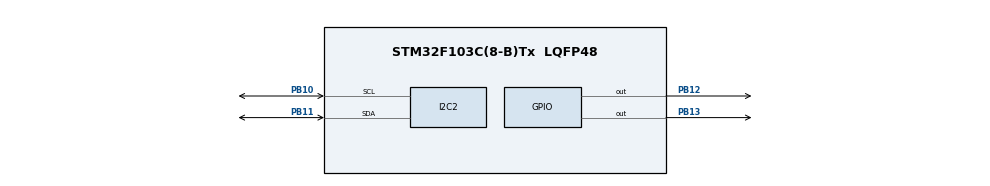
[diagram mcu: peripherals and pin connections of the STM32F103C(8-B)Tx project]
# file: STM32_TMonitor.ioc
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Mcu.Family=STM32F1
Mcu.Name=STM32F103C(8-B)Tx
Mcu.Package=LQFP48
NVIC.PriorityGroup=NVIC_PRIORITYGROUP_4
PA13.Mode=Serial_Wire
PA13.Signal=SYS_JTMS-SWDIO
PA14.Mode=Serial_Wire
PA14.Signal=SYS_JTCK-SWCLK
PB10.Mode=I2C
PB10.Signal=I2C2_SCL
PB11.Mode=I2C
PB11.Signal=I2C2_SDA
PB12.GPIO_ModeDefaultOutputPP=GPIO_MODE_OUTPUT_PP
PB12.GPIO_Speed=GPIO_SPEED_FREQ_HIGH
PB12.PinState=GPIO_PIN_RESET
PB12.Signal=GPIO_Output
PB13.GPIO_Speed=GPIO_SPEED_FREQ_HIGH
PB13.Signal=GPIO_Output
ProjectManager.HeapSize=0x200
ProjectManager.StackSize=0x400
ProjectManager.TargetToolchain=SW4STM32
RCC.APB1Freq_Value=8000000
RCC.APB2Freq_Value=8000000
TIM1.ClockDivision=TIM_CLOCKDIVISION_DIV1
TIM1.Period=65535
TIM1.Prescaler=7
TIM1.RepetitionCounter=0
TIM1.TIM_MasterOutputTrigger=TIM_TRGO_ENABLE
VP_TIM1_VS_ClockSourceINT.Mode=Internal
board=STM32_TMonitor

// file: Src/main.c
/**
 ******************************************************************************
 * File Name          : main.c
 * Description        : Main program body
 ******************************************************************************
 ** This notice applies to any and all portions of this file
 * that are not between comment pairs USER CODE BEGIN and
 * USER CODE END. Other portions of this file, whether
 * inserted by the user or by software development tools
 * are owned by their respective copyright owners.
 *
 * COPYRIGHT(c) 2017 STMicroelectronics
 *
 * Redistribution and use in source and binary forms, with or without modification,
 * are permitted provided that the following conditions are met:
 *   1. Redistributions of source code must retain the above copyright notice,
 *      this list of conditions and the following disclaimer.
 *   2. Redistributions in binary form must reproduce the above copyright notice,
 *      this list of conditions and the following disclaimer in the documentation
 *      and/or other materials provided with the distribution.
 *   3. Neither the name of STMicroelectronics nor the names of its contributors
 *      may be used to endorse or promote products derived from this software
 *      without specific prior written permission.
 *
 * THIS SOFTWARE IS PROVIDED BY THE COPYRIGHT HOLDERS AND CONTRIBUTORS "AS IS"
 * AND ANY EXPRESS OR IMPLIED WARRANTIES, INCLUDING, BUT NOT LIMITED TO, THE
 * IMPLIED WARRANTIES OF MERCHANTABILITY AND FITNESS FOR A PARTICULAR PURPOSE ARE
 * DISCLAIMED. IN NO EVENT SHALL THE COPYRIGHT HOLDER OR CONTRIBUTORS BE LIABLE
 * FOR ANY DIRECT, INDIRECT, INCIDENTAL, SPECIAL, EXEMPLARY, OR CONSEQUENTIAL
 * DAMAGES (INCLUDING, BUT NOT LIMITED TO, PROCUREMENT OF SUBSTITUTE GOODS OR
 * SERVICES; LOSS OF USE, DATA, OR PROFITS; OR BUSINESS INTERRUPTION) HOWEVER
 * CAUSED AND ON ANY THEORY OF LIABILITY, WHETHER IN CONTRACT, STRICT LIABILITY,
 * OR TORT (INCLUDING NEGLIGENCE OR OTHERWISE) ARISING IN ANY WAY OUT OF THE USE
 * OF THIS SOFTWARE, EVEN IF ADVISED OF THE POSSIBILITY OF SUCH DAMAGE.
 *
 ******************************************************************************
 */

#include "main.h"
#include "stm32f1xx_hal.h"

/* USER CODE BEGIN Includes */
#include "SSD1306/ssd1306.h"
#include "Beeper/gpio_beeper.h"
#include "TSensor/ds18b20.h"
/* USER CODE END Includes */

I2C_HandleTypeDef hi2c2;

TIM_HandleTypeDef htim1;

/* USER CODE BEGIN PV */
/* Private variables ---------------------------------------------------------*/

/* USER CODE END PV */

void SystemClock_Config(void);
static void MX_GPIO_Init(void);
static void MX_I2C2_Init(void);
static void MX_TIM1_Init(void);

/* USER CODE BEGIN PFP */
/* Private function prototypes -----------------------------------------------*/

/* USER CODE END PFP */

int main(void) {

	/* MCU Configuration----------------------------------------------------------*/

	/* Reset of all peripherals, Initializes the Flash interface and the Systick. */
	HAL_Init();

	/* Configure the system clock */
	SystemClock_Config();

	/* Initialize all configured peripherals */
	MX_GPIO_Init();
	MX_I2C2_Init();
	MX_TIM1_Init();

	/* USER CODE BEGIN 2 */
	htim1.Instance->CR1 |= TIM_CR1_CEN;
	gpio_beeper_Init();
	ds18b20_init(GPIOB, GPIO_PIN_13, htim1.Instance);
	ssd1306_Init();
	gpio_beeper_Init();
	gpio_beeper_Init();
	/* USER CODE END 2 */

	/* Infinite loop */
	/* USER CODE BEGIN WHILE */
	HAL_Delay(1000);
	simple_float f;
	char temp[3];
	char temp_frac[5];
	char buf[16];
	//bool TWARN = false;
	ssd1306_Fill(Black);
	ssd1306_UpdateScreen();
	while (1) {
		f = ds18b20_get_temperature_simple();
		if (f.is_valid) {
			//HAL_Delay(1000);
			if(f.integer > 60){
				gpio_beeper_beep();
			}
			else{
				gpio_beeper_stop();
			}
			ssd1306_SetCursor(23, 23);
			itoa(f.integer, temp, 10);
			itoa(f.fractional, temp_frac, 10);
			snprintf(buf, sizeof buf, "%s.%s", temp, temp_frac);
			ssd1306_WriteString(buf, Font_11x18, White);
			ssd1306_UpdateScreen();
			//HAL_Delay(1000);
			//ssd1306_Fill(Black);
			//ssd1306_UpdateScreen();
		} else {
			ssd1306_Fill(Black);
			ssd1306_UpdateScreen();
			//HAL_Delay(1000);
			ssd1306_SetCursor(23, 23);
			ssd1306_WriteString("Invalid Data", Font_11x18, White);
			ssd1306_UpdateScreen();
			HAL_Delay(1000);
			ssd1306_Fill(Black);
			ssd1306_UpdateScreen();
		}
		HAL_Delay(1000);
	}
	while (1) {
		/* USER CODE END WHILE */

	}

}

/** System Clock Configuration
 */
void SystemClock_Config(void) {

	RCC_OscInitTypeDef RCC_OscInitStruct;
	RCC_ClkInitTypeDef RCC_ClkInitStruct;

	/**Initializes the CPU, AHB and APB busses clocks
	 */
	RCC_OscInitStruct.OscillatorType = RCC_OSCILLATORTYPE_HSI;
	RCC_OscInitStruct.HSIState = RCC_HSI_ON;
	RCC_OscInitStruct.HSICalibrationValue = 16;
	RCC_OscInitStruct.PLL.PLLState = RCC_PLL_NONE;
	if (HAL_RCC_OscConfig(&RCC_OscInitStruct) != HAL_OK) {
		_Error_Handler(__FILE__, __LINE__);
	}

	/**Initializes the CPU, AHB and APB busses clocks
	 */
	RCC_ClkInitStruct.ClockType = RCC_CLOCKTYPE_HCLK | RCC_CLOCKTYPE_SYSCLK
			| RCC_CLOCKTYPE_PCLK1 | RCC_CLOCKTYPE_PCLK2;
	RCC_ClkInitStruct.SYSCLKSource = RCC_SYSCLKSOURCE_HSI;
	RCC_ClkInitStruct.AHBCLKDivider = RCC_SYSCLK_DIV1;
	RCC_ClkInitStruct.APB1CLKDivider = RCC_HCLK_DIV1;
	RCC_ClkInitStruct.APB2CLKDivider = RCC_HCLK_DIV1;

	if (HAL_RCC_ClockConfig(&RCC_ClkInitStruct, FLASH_LATENCY_0) != HAL_OK) {
		_Error_Handler(__FILE__, __LINE__);
	}

	/**Configure the Systick interrupt time
	 */
	HAL_SYSTICK_Config(HAL_RCC_GetHCLKFreq() / 1000);

	/**Configure the Systick
	 */
	HAL_SYSTICK_CLKSourceConfig(SYSTICK_CLKSOURCE_HCLK);

	/* SysTick_IRQn interrupt configuration */
	HAL_NVIC_SetPriority(SysTick_IRQn, 0, 0);
}

/* I2C2 init function */
static void MX_I2C2_Init(void) {

	hi2c2.Instance = I2C2;
	hi2c2.Init.ClockSpeed = 100000;
	hi2c2.Init.DutyCycle = I2C_DUTYCYCLE_2;
	hi2c2.Init.OwnAddress1 = 0;
	hi2c2.Init.AddressingMode = I2C_ADDRESSINGMODE_7BIT;
	hi2c2.Init.DualAddressMode = I2C_DUALADDRESS_DISABLE;
	hi2c2.Init.OwnAddress2 = 0;
	hi2c2.Init.GeneralCallMode = I2C_GENERALCALL_DISABLE;
	hi2c2.Init.NoStretchMode = I2C_NOSTRETCH_DISABLE;
	if (HAL_I2C_Init(&hi2c2) != HAL_OK) {
		_Error_Handler(__FILE__, __LINE__);
	}

}

/* TIM1 init function */
static void MX_TIM1_Init(void) {

	TIM_ClockConfigTypeDef sClockSourceConfig;
	TIM_MasterConfigTypeDef sMasterConfig;

	htim1.Instance = TIM1;
	htim1.Init.Prescaler = 7;
	htim1.Init.CounterMode = TIM_COUNTERMODE_UP;
	htim1.Init.Period = 65535;
	htim1.Init.ClockDivision = TIM_CLOCKDIVISION_DIV1;
	htim1.Init.RepetitionCounter = 0;
	htim1.Init.AutoReloadPreload = TIM_AUTORELOAD_PRELOAD_DISABLE;
	if (HAL_TIM_Base_Init(&htim1) != HAL_OK) {
		_Error_Handler(__FILE__, __LINE__);
	}

	sClockSourceConfig.ClockSource = TIM_CLOCKSOURCE_INTERNAL;
	if (HAL_TIM_ConfigClockSource(&htim1, &sClockSourceConfig) != HAL_OK) {
		_Error_Handler(__FILE__, __LINE__);
	}

	sMasterConfig.MasterOutputTrigger = TIM_TRGO_ENABLE;
	sMasterConfig.MasterSlaveMode = TIM_MASTERSLAVEMODE_DISABLE;
	if (HAL_TIMEx_MasterConfigSynchronization(&htim1, &sMasterConfig)
			!= HAL_OK) {
		_Error_Handler(__FILE__, __LINE__);
	}

}

/** Configure pins as
 * Analog
 * Input
 * Output
 * EVENT_OUT
 * EXTI
 */
static void MX_GPIO_Init(void) {

	GPIO_InitTypeDef GPIO_InitStruct;

	/* GPIO Ports Clock Enable */
	__HAL_RCC_GPIOB_CLK_ENABLE()
	;
	__HAL_RCC_GPIOA_CLK_ENABLE()
	;

	/*Configure GPIO pin Output Level */
	HAL_GPIO_WritePin(GPIOB, GPIO_PIN_12 | GPIO_PIN_13, GPIO_PIN_RESET);

	/*Configure GPIO pins : PB12 PB13 */
	GPIO_InitStruct.Pin = GPIO_PIN_12 | GPIO_PIN_13;
	GPIO_InitStruct.Mode = GPIO_MODE_OUTPUT_PP;
	GPIO_InitStruct.Speed = GPIO_SPEED_FREQ_HIGH;
	HAL_GPIO_Init(GPIOB, &GPIO_InitStruct);

}

void _Error_Handler(char * file, int line) {
	while (1) {
	}
}

/************************ (C) COPYRIGHT STMicroelectronics *****END OF FILE****/
